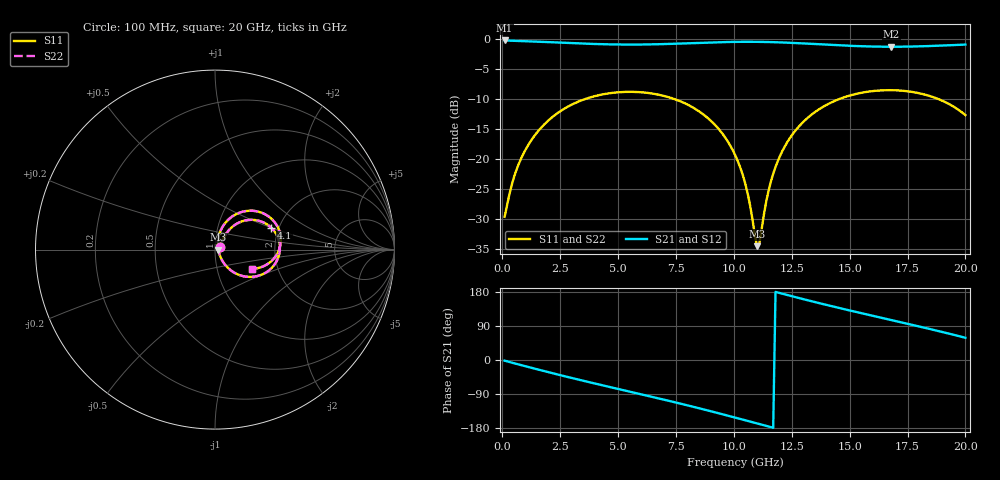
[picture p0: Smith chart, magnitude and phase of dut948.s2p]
! Touchstone file exported from HFSS 2026.1.0
!  File:  C:/ffzhzh/LocalFiles/Ansys_Project_Files/temp_train_TSV_RDL_948_1783282895_30076.aedt
!  Generated:  04:31:25 AM Jul  6, 2026
!  Design:  TSV_RDL
!  Project:  temp_train_TSV_RDL_948_1783282895_30076
! Variables:
!  h_bsmrdl = 2.62um
!  h_ox = 20um
!  h_rdl = 5um
!  h_sub = 57.58um
!  h_tmrdl = 2.74um
!  h_tsv = 57.58um
!  h_via = 3um
!  l_bsmrdl = 432.62um
!  l_sub = 5037.33um
!  l_tmrdl = 804.59um
!  m_sub = 200um
!  pitch = 35.61um
!  r_tsv = 13.92um
!  s_tmrdl = 10um
!  w_bsmrdl = 21.12um
!  w_sub = 500um
!  w_tmrdl = 19.25um
!  x_tsv_center1 = 814.215um
!  x_tsv_center2 = 1267.955um
!  x_tsv_center3 = 2091.795um
!  x_tsv_center4 = 2545.535um
!  x_tsv_center5 = 3369.375um
!  x_tsv_center6 = 3823.115um
# GHz S MA R 50.000000
! Terminal data exported
! Port[1] = TM_RDL1_1_T1
! Port[2] = TM_RDL5_1_T1
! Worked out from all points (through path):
!   200 points, 100 MHz to 20 GHz, reference 50 ohm
!   highest |S21| = -0.27 dB at 100 MHz (marker M1); lowest = -1.3 dB at 16.8 GHz (marker M2)
!   group delay of S21, straight-line fit = 41.9 ps
!   lowest |S11| = -34.6 dB at 11 GHz (marker M3), VSWR 1.04, Z = 51.9 - j0.0821 ohm
!   |S11| at or under -10 dB: start of sweep to 3.604 GHz; 7.406 GHz to 14.58 GHz (7.171 GHz wide, 65.2 % of centre); 18.81 GHz to end of sweep
!   |S22| runs from -34.8 to -8.6 dB; largest |S21 - S12| = 1.6e-14
!   S11 on the Smith chart (normalised r, x): 100 MHz: 1.06, +0.03; 4.1 GHz: 1.83, +0.50; 20 GHz: 1.47, -0.33
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0.1  0.03283 21.9  0.9698 -1.8  0.9698 -1.8  0.03283 21.9
! Gamma 0 0 0 0
! Port Impedance 50 0 50 0
0.6  0.07972 53.3  0.9618 -10.1  0.9618 -10.1  0.07972 53.3
1.3  0.1472 53.7  0.9514 -21.3  0.9514 -21.3  0.1472 53.7
2.3  0.2339 43.9  0.9342 -36.9  0.9342 -36.9  0.2339 43.9
3.5  0.3111 28.9  0.9133 -54.9  0.9133 -54.9  0.3111 28.9
4.1  0.3368 21.1  0.905 -63.6  0.905 -63.6  0.3368 21.1
5.5  0.3618 2.7  0.8962 -83.5  0.8962 -83.5  0.3618 2.7
6.8  0.3408 -14.6  0.9027 -102.0  0.9027 -102.0  0.3408 -14.7
8.8  0.2249 -41.8  0.9304 -132.0  0.9304 -132.0  0.2249 -41.9
10.1  0.1029 -56.2  0.9442 -152.7  0.9442 -152.7  0.1029 -56.5
10.6  0.05111 -53.4  0.9456 -160.8  0.9456 -160.8  0.051 -53.8
11  0.0187 -2.4  0.9447 -167.3  0.9447 -167.3  0.01826 -2.9
11.1  0.01968 29.3  0.9442 -169.0  0.9442 -169.0  0.01923 29.6
11.5  0.05433 71.7  0.941 -175.5  0.941 -175.5  0.05411 72.2
11.9  0.09596 74.2  0.9361 178.0  0.9361 178.0  0.09581 74.5
12.5  0.1566 69.2  0.9262 168.4  0.9262 168.4  0.1565 69.4
13.4  0.2371 58.0  0.9075 154.4  0.9075 154.4  0.237 58.1
15  0.3366 36.7  0.8754 130.8  0.8754 130.8  0.3365 36.8
16.7  0.3736 14.6  0.8598 106.8  0.8598 106.8  0.3735 14.7
16.8  0.3735 13.3  0.8597 105.5  0.8597 105.5  0.3734 13.4
18.5  0.3321 -8.6  0.8719 81.3  0.8719 81.3  0.332 -8.6
20  0.2315 -27.6  0.896 58.7  0.896 58.7  0.2314 -27.6
